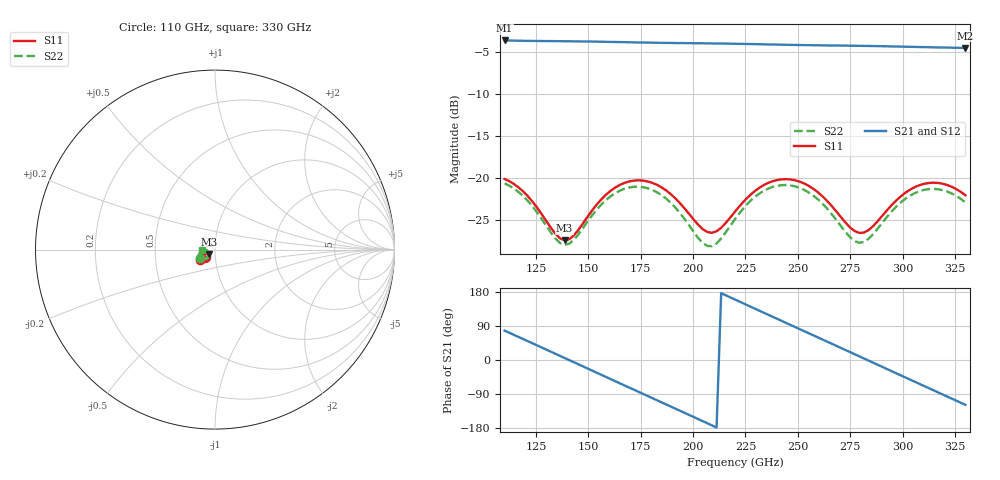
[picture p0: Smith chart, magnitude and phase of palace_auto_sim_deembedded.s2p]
! Created with skrf 1.11.0 (http://scikit-rf.org).
# GHz S DB R 50.0
!freq dBS11 angS11 dBS21 angS21 dBS12 angS12 dBS22 angS22
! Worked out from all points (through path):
!   101 points, 110 GHz to 330 GHz, reference 50 ohm
!   highest |S21| = -3.57 dB at 110 GHz (marker M1); lowest = -4.5 dB at 330 GHz (marker M2)
!   group delay of S21, straight-line fit = 7.02 ps
!   lowest |S11| = -27.5 dB at 138.6 GHz (marker M3), VSWR 1.09, Z = 46.7 - j2.43 ohm
!   |S11| at or under -10 dB: start of sweep to end of sweep
!   |S22| runs from -28.2 to -20.7 dB; largest |S21 - S12| = 1.1e-14
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110  -20.15 -145.7  -3.57 77.5  -3.57 77.5  -20.68 -151.2
125.4  -23.53 -163.0  -3.63 38.8  -3.63 38.8  -24.11 -169.4
138.6  -27.48 -142.1  -3.66 5.5  -3.66 5.5  -28.02 -149.4
147.4  -25.46 -120.8  -3.68 -16.8  -3.68 -16.8  -26.02 -129.2
156.2  -22.58 -120.6  -3.72 -39.1  -3.72 -39.1  -23.20 -130.0
167.2  -20.62 -133.2  -3.77 -67.0  -3.77 -67.0  -21.32 -143.6
176  -20.34 -145.9  -3.81 -89.2  -3.81 -89.2  -21.13 -157.1
184.8  -21.13 -157.5  -3.85 -111.4  -3.85 -111.4  -22.05 -169.5
195.8  -23.63 -164.8  -3.88 -139.1  -3.88 -139.1  -24.89 -177.6
206.8  -26.50 -150.0  -3.91 -167.0  -3.91 -167.0  -28.16 -159.6
211.2  -26.40 -138.3  -3.93 -178.1  -3.93 -178.1  -27.86 -145.8
220  -24.05 -125.5  -3.96 159.6  -3.96 159.6  -24.95 -133.3
231  -21.31 -130.4  -4.01 131.7  -4.01 131.7  -22.00 -140.6
239.8  -20.29 -140.9  -4.06 109.5  -4.06 109.5  -20.98 -152.6
248.6  -20.29 -152.7  -4.10 87.3  -4.10 87.3  -21.03 -165.6
257.4  -21.32 -163.0  -4.14 65.1  -4.14 65.1  -22.13 -177.0
268.4  -24.04 -167.6  -4.17 37.3  -4.17 37.3  -25.06 177.6
279.4  -26.60 -149.4  -4.21 9.5  -4.21 9.5  -27.78 -162.7
294.8  -23.27 -127.4  -4.28 -29.5  -4.28 -29.5  -24.03 -141.3
312.4  -20.63 -142.6  -4.38 -74.0  -4.38 -74.0  -21.36 -159.1
321.2  -20.86 -153.0  -4.42 -96.1  -4.42 -96.1  -21.64 -170.4
330  -22.09 -160.9  -4.46 -118.3  -4.46 -118.3  -22.95 -179.1
